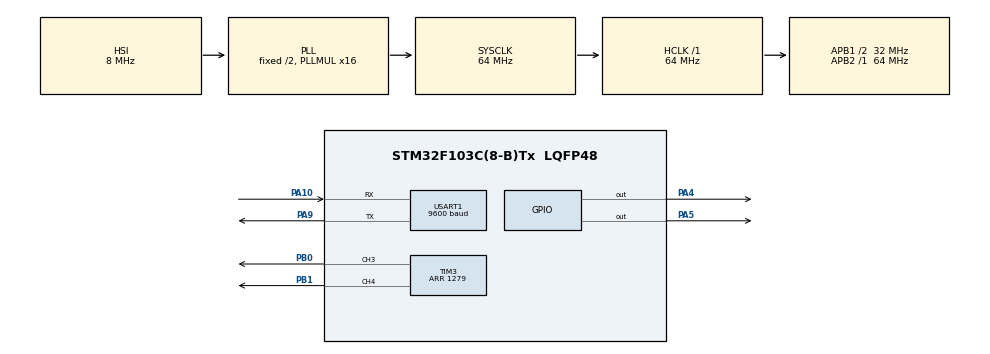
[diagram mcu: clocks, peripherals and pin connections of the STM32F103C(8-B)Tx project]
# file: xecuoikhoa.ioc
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Mcu.Family=STM32F1
Mcu.Name=STM32F103C(8-B)Tx
Mcu.Package=LQFP48
NVIC.PriorityGroup=NVIC_PRIORITYGROUP_4
NVIC.USART1_IRQn=true\:0\:0\:false\:false\:true\:true\:true
PA10.Mode=Asynchronous
PA10.Signal=USART1_RX
PA13.Mode=Serial_Wire
PA13.Signal=SYS_JTMS-SWDIO
PA14.Mode=Serial_Wire
PA14.Signal=SYS_JTCK-SWCLK
PA4.Signal=GPIO_Output
PA5.Signal=GPIO_Output
PA9.Mode=Asynchronous
PA9.Signal=USART1_TX
PB0.Signal=S_TIM3_CH3
PB1.Signal=S_TIM3_CH4
ProjectManager.HeapSize=0x200
ProjectManager.StackSize=0x400
ProjectManager.TargetToolchain=STM32CubeIDE
RCC.AHBFreq_Value=64000000
RCC.APB1CLKDivider=RCC_HCLK_DIV2
RCC.APB1Freq_Value=32000000
RCC.APB1TimFreq_Value=64000000
RCC.APB2Freq_Value=64000000
RCC.APB2TimFreq_Value=64000000
RCC.HCLKFreq_Value=64000000
RCC.PLLMUL=RCC_PLL_MUL16
RCC.SYSCLKFreq_VALUE=64000000
RCC.SYSCLKSource=RCC_SYSCLKSOURCE_PLLCLK
RCC.USBFreq_Value=64000000
SH.S_TIM3_CH3.0=TIM3_CH3,PWM Generation3 CH3
SH.S_TIM3_CH4.0=TIM3_CH4,PWM Generation4 CH4
TIM3.Channel-PWM\ Generation3\ CH3=TIM_CHANNEL_3
TIM3.Channel-PWM\ Generation4\ CH4=TIM_CHANNEL_4
TIM3.Period=1279
USART1.BaudRate=9600
USART1.VirtualMode=VM_ASYNC
VP_TIM3_VS_ClockSourceINT.Mode=Internal
board=custom

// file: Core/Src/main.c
/* USER CODE BEGIN Header */
/**
  ******************************************************************************
  * @file           : main.c
  * @brief          : Main program body
  ******************************************************************************
  * @attention
  *
  * <h2><center>&copy; Copyright (c) 2020 STMicroelectronics.
  * All rights reserved.</center></h2>
  *
  * This software component is licensed by ST under BSD 3-Clause license,
  * the "License"; You may not use this file except in compliance with the
  * License. You may obtain a copy of the License at:
  *                        opensource.org/licenses/BSD-3-Clause
  *
  ******************************************************************************
  */
/* USER CODE END Header */
#include "main.h"

TIM_HandleTypeDef htim3;

UART_HandleTypeDef huart1;

void SystemClock_Config(void);
static void MX_GPIO_Init(void);
static void MX_TIM3_Init(void);
static void MX_USART1_UART_Init(void);

/* USER CODE BEGIN 0 */
uint8_t uart_nhan;
uint8_t dieu_khien=0;
uint16_t speed=1000;
uint16_t speed_l=600;
uint16_t speed_h=1200;
void stop(void)
{
	    HAL_GPIO_WritePin(GPIOA, GPIO_PIN_4, GPIO_PIN_RESET);
	    HAL_GPIO_WritePin(GPIOA, GPIO_PIN_5, GPIO_PIN_RESET);
	    int duty_trai = 0;
		htim3.Instance->CCR3=duty_trai;
		int duty_phai = 0;
		htim3.Instance->CCR4=duty_phai;
		HAL_Delay(10);
}
void turn_back(void)
{
	HAL_GPIO_WritePin(GPIOA, GPIO_PIN_4, GPIO_PIN_SET);
    HAL_GPIO_WritePin(GPIOA, GPIO_PIN_5, GPIO_PIN_SET);
	int duty_trai = 400;
	htim3.Instance->CCR3=duty_trai;
	int duty_phai = 460;
	htim3.Instance->CCR4=duty_phai;
	HAL_Delay(10);
}
void turn_right(void)
{
	HAL_GPIO_WritePin(GPIOA, GPIO_PIN_4, GPIO_PIN_RESET);
	HAL_GPIO_WritePin(GPIOA, GPIO_PIN_5, GPIO_PIN_RESET);
	int duty_trai = speed_h;
	htim3.Instance->CCR3=duty_trai;
	int duty_phai = speed_l;
	htim3.Instance->CCR4=duty_phai;
	HAL_Delay(10);
}
void turn_left(void)
{
	HAL_GPIO_WritePin(GPIOA, GPIO_PIN_4, GPIO_PIN_RESET);
	HAL_GPIO_WritePin(GPIOA, GPIO_PIN_5, GPIO_PIN_RESET);
	int duty_trai = speed_l;
	htim3.Instance->CCR3=duty_trai;
	int duty_phai = speed_h;
	htim3.Instance->CCR4=duty_phai;
	HAL_Delay(10);
}
void xuat_xung_PWM_straight(void)
{
	HAL_GPIO_WritePin(GPIOA, GPIO_PIN_4, GPIO_PIN_RESET);
	HAL_GPIO_WritePin(GPIOA, GPIO_PIN_5, GPIO_PIN_RESET);
	int duty_trai = speed;
	htim3.Instance->CCR3=duty_trai;
	int duty_phai = speed;
	htim3.Instance->CCR4=duty_phai;
	HAL_Delay(10);
}
void turn_left_BW(void)
{
	HAL_GPIO_WritePin(GPIOA, GPIO_PIN_4, GPIO_PIN_SET);
	HAL_GPIO_WritePin(GPIOA, GPIO_PIN_5, GPIO_PIN_SET);
	int duty_trai = 700;
	htim3.Instance->CCR3=duty_trai;
	int duty_phai = 440;
	htim3.Instance->CCR4=duty_phai;
	HAL_Delay(10);
}
void turn_right_BW(void)
{
	HAL_GPIO_WritePin(GPIOA, GPIO_PIN_4, GPIO_PIN_SET);
	HAL_GPIO_WritePin(GPIOA, GPIO_PIN_5, GPIO_PIN_SET);
	int duty_trai = 440;
	htim3.Instance->CCR3=duty_trai;
	int duty_phai = 700;
	htim3.Instance->CCR4=duty_phai;
	HAL_Delay(10);
}
/* USER CODE END 0 */

int main(void)
{

  /* MCU Configuration--------------------------------------------------------*/

  /* Reset of all peripherals, Initializes the Flash interface and the Systick. */
  HAL_Init();

  /* Configure the system clock */
  SystemClock_Config();

  /* Initialize all configured peripherals */
  MX_GPIO_Init();
  MX_TIM3_Init();
  MX_USART1_UART_Init();
  /* USER CODE BEGIN 2 */
  HAL_TIM_PWM_Start(&htim3, TIM_CHANNEL_3);
  HAL_TIM_PWM_Start(&htim3, TIM_CHANNEL_4);
  //HAL_UART_Receive_IT(&huart1, &uart_nhan, 1);
  /* USER CODE END 2 */

  /* Infinite loop */
  /* USER CODE BEGIN WHILE */
  while (1)
  {
	  HAL_UART_Receive(&huart1, &uart_nhan,1,1000);

    /* USER CODE END WHILE */

    /* USER CODE BEGIN 3 */
	  if(uart_nhan<=53)
	  {
		  speed=600;
		  speed_h=800;
		  speed_l=200;
	  }
	  else if((uart_nhan>54&& uart_nhan<=57)||uart_nhan==113)
	  {
		  speed=1000;
		  speed_h=1200;
		  speed_l=600;
	  }
	 switch(uart_nhan) // chu thich: thay code vao doan (/*...*/)
	   {
	    case 83: stop(); 	                break;
	    case 70: xuat_xung_PWM_straight();	break;
	    case 66: turn_back();   			break;
	    case 71: turn_right(); 			    break;
	    case 73: turn_left();  			    break;
	    case 72: turn_left_BW();			break;
	    case 74: turn_right_BW();			break;
	    }

  }
  /* USER CODE END 3 */
}

void SystemClock_Config(void)
{
  RCC_OscInitTypeDef RCC_OscInitStruct = {0};
  RCC_ClkInitTypeDef RCC_ClkInitStruct = {0};

  /** Initializes the RCC Oscillators according to the specified parameters
  * in the RCC_OscInitTypeDef structure.
  */
  RCC_OscInitStruct.OscillatorType = RCC_OSCILLATORTYPE_HSI;
  RCC_OscInitStruct.HSIState = RCC_HSI_ON;
  RCC_OscInitStruct.HSICalibrationValue = RCC_HSICALIBRATION_DEFAULT;
  RCC_OscInitStruct.PLL.PLLState = RCC_PLL_ON;
  RCC_OscInitStruct.PLL.PLLSource = RCC_PLLSOURCE_HSI_DIV2;
  RCC_OscInitStruct.PLL.PLLMUL = RCC_PLL_MUL16;
  if (HAL_RCC_OscConfig(&RCC_OscInitStruct) != HAL_OK)
  {
    Error_Handler();
  }
  /** Initializes the CPU, AHB and APB buses clocks
  */
  RCC_ClkInitStruct.ClockType = RCC_CLOCKTYPE_HCLK|RCC_CLOCKTYPE_SYSCLK
                              |RCC_CLOCKTYPE_PCLK1|RCC_CLOCKTYPE_PCLK2;
  RCC_ClkInitStruct.SYSCLKSource = RCC_SYSCLKSOURCE_PLLCLK;
  RCC_ClkInitStruct.AHBCLKDivider = RCC_SYSCLK_DIV1;
  RCC_ClkInitStruct.APB1CLKDivider = RCC_HCLK_DIV2;
  RCC_ClkInitStruct.APB2CLKDivider = RCC_HCLK_DIV1;

  if (HAL_RCC_ClockConfig(&RCC_ClkInitStruct, FLASH_LATENCY_2) != HAL_OK)
  {
    Error_Handler();
  }
}

static void MX_TIM3_Init(void)
{

  TIM_ClockConfigTypeDef sClockSourceConfig = {0};
  TIM_MasterConfigTypeDef sMasterConfig = {0};
  TIM_OC_InitTypeDef sConfigOC = {0};

  htim3.Instance = TIM3;
  htim3.Init.Prescaler = 0;
  htim3.Init.CounterMode = TIM_COUNTERMODE_UP;
  htim3.Init.Period = 1279;
  htim3.Init.ClockDivision = TIM_CLOCKDIVISION_DIV1;
  htim3.Init.AutoReloadPreload = TIM_AUTORELOAD_PRELOAD_DISABLE;
  if (HAL_TIM_Base_Init(&htim3) != HAL_OK)
  {
    Error_Handler();
  }
  sClockSourceConfig.ClockSource = TIM_CLOCKSOURCE_INTERNAL;
  if (HAL_TIM_ConfigClockSource(&htim3, &sClockSourceConfig) != HAL_OK)
  {
    Error_Handler();
  }
  if (HAL_TIM_PWM_Init(&htim3) != HAL_OK)
  {
    Error_Handler();
  }
  sMasterConfig.MasterOutputTrigger = TIM_TRGO_RESET;
  sMasterConfig.MasterSlaveMode = TIM_MASTERSLAVEMODE_DISABLE;
  if (HAL_TIMEx_MasterConfigSynchronization(&htim3, &sMasterConfig) != HAL_OK)
  {
    Error_Handler();
  }
  sConfigOC.OCMode = TIM_OCMODE_PWM1;
  sConfigOC.Pulse = 0;
  sConfigOC.OCPolarity = TIM_OCPOLARITY_HIGH;
  sConfigOC.OCFastMode = TIM_OCFAST_DISABLE;
  if (HAL_TIM_PWM_ConfigChannel(&htim3, &sConfigOC, TIM_CHANNEL_3) != HAL_OK)
  {
    Error_Handler();
  }
  if (HAL_TIM_PWM_ConfigChannel(&htim3, &sConfigOC, TIM_CHANNEL_4) != HAL_OK)
  {
    Error_Handler();
  }
  HAL_TIM_MspPostInit(&htim3);

}

static void MX_USART1_UART_Init(void)
{

  huart1.Instance = USART1;
  huart1.Init.BaudRate = 9600;
  huart1.Init.WordLength = UART_WORDLENGTH_8B;
  huart1.Init.StopBits = UART_STOPBITS_1;
  huart1.Init.Parity = UART_PARITY_NONE;
  huart1.Init.Mode = UART_MODE_TX_RX;
  huart1.Init.HwFlowCtl = UART_HWCONTROL_NONE;
  huart1.Init.OverSampling = UART_OVERSAMPLING_16;
  if (HAL_UART_Init(&huart1) != HAL_OK)
  {
    Error_Handler();
  }

}

static void MX_GPIO_Init(void)
{
  GPIO_InitTypeDef GPIO_InitStruct = {0};

  /* GPIO Ports Clock Enable */
  __HAL_RCC_GPIOA_CLK_ENABLE();
  __HAL_RCC_GPIOB_CLK_ENABLE();

  /*Configure GPIO pin Output Level */
  HAL_GPIO_WritePin(GPIOA, GPIO_PIN_4|GPIO_PIN_5, GPIO_PIN_RESET);

  /*Configure GPIO pins : PA4 PA5 */
  GPIO_InitStruct.Pin = GPIO_PIN_4|GPIO_PIN_5;
  GPIO_InitStruct.Mode = GPIO_MODE_OUTPUT_PP;
  GPIO_InitStruct.Pull = GPIO_NOPULL;
  GPIO_InitStruct.Speed = GPIO_SPEED_FREQ_LOW;
  HAL_GPIO_Init(GPIOA, &GPIO_InitStruct);

}

/* USER CODE BEGIN 4 */
void HAL_UART_RxCpltCallback(UART_HandleTypeDef *huart)
{
	HAL_UART_Receive_IT(&huart1, &uart_nhan,1);
	HAL_UART_Transmit(&huart1, &uart_nhan,1,1000);
		switch(uart_nhan)
	{
	case 48: dieu_khien=0; break; //0 la stop
	case 49: dieu_khien=1; break; //1 la chay thang
	case 50: dieu_khien=2; break; //2 la chay lui
	case 51: dieu_khien=3; break; //3 la queo phai
	case 52: dieu_khien=4; break; //4 la queo trai
	}
}

/* USER CODE END 4 */

void Error_Handler(void)
{
}

/************************ (C) COPYRIGHT STMicroelectronics *****END OF FILE****/
